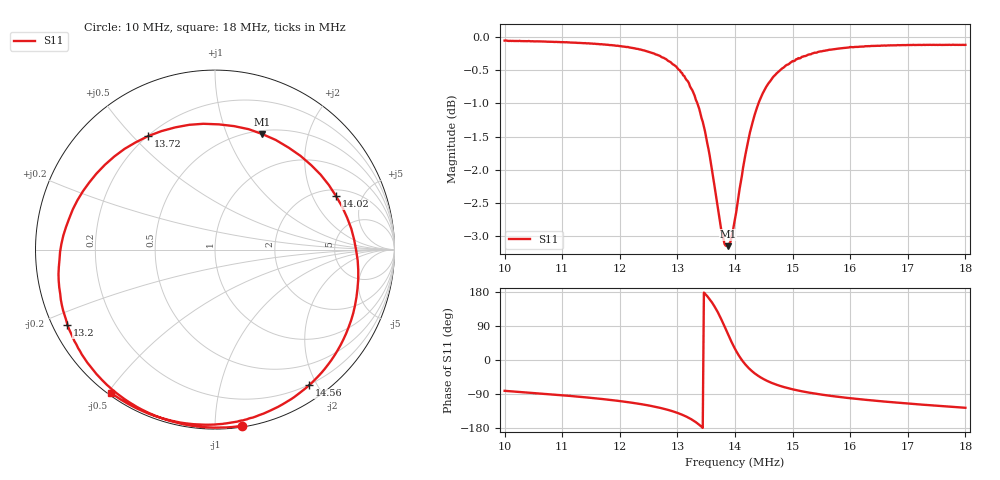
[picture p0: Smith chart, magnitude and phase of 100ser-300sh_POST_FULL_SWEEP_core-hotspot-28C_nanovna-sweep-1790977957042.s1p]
! NanoVNA Web complex sweep
! Processing: original sample grid, no browser smoothing
# Hz S RI R 50
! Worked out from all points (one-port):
!   401 points, 10 MHz to 18 MHz, reference 50 ohm
!   lowest |S11| = -3.2 dB at 13.88 MHz (marker M1), VSWR 5.57, Z = 27 + j67.3 ohm
!   |S11| at or under -10 dB: nowhere
!   S11 on the Smith chart (normalised r, x): 10 MHz: 0.01, -1.16; 13.2 MHz: 0.04, -0.24; 13.72 MHz: 0.20, +0.55; 14.02 MHz: 2.35, +3.06; 14.56 MHz: 0.19, -1.89; 18 MHz: 0.01, -0.51
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1e7  0.1497 -0.9826
1.1e7  -0.052 -0.99
1.2e7  -0.3105 -0.9342
1.26e7  -0.5289 -0.8151
1.282e7  -0.63 -0.7258
1.3e7  -0.7211 -0.6148
1.32e7  -0.822 -0.42
1.336e7  -0.8707 -0.1745
1.35e7  -0.8306 0.1242
1.356e7  -0.7663 0.2752
1.362e7  -0.6609 0.423
1.372e7  -0.3727 0.6323
1.38e7  -0.0645 0.701
1.388e7  0.2642 0.6434
1.394e7  0.4767 0.5219
1.4e7  0.6349 0.3589
1.402e7  0.6746 0.2975
1.408e7  0.7594 0.1164
1.414e7  0.7948 -0.0595
1.428e7  0.7587 -0.393
1.442e7  0.6479 -0.6165
1.456e7  0.524 -0.7561
1.476e7  0.364 -0.869
1.5e7  0.2107 -0.9359
1.544e7  0.0012 -0.9745
1.6e7  -0.1826 -0.9659
1.7e7  -0.4146 -0.8951
1.8e7  -0.5813 -0.7972
